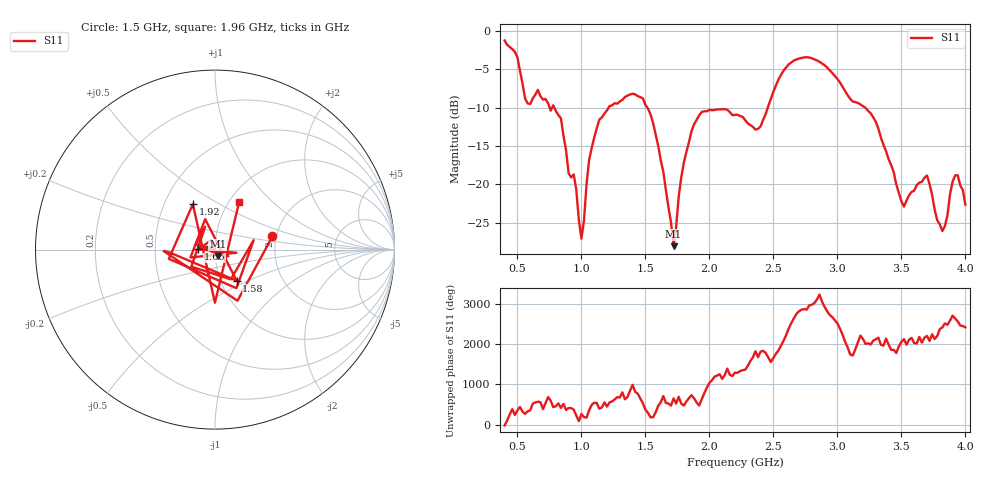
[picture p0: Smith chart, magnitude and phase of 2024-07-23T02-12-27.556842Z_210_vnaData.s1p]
!Created with skrf (http://scikit-rf.org).
# Hz S RI R 50.0
!freq ReS11 ImS11
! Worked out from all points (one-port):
!   181 points, 400 MHz to 4 GHz, reference 50 ohm
!   lowest |S11| = -28.0 dB at 1.72 GHz (marker M1), VSWR 1.08, Z = 51.4 - j3.75 ohm
!   |S11| at or under -10 dB: 788.1 MHz to 1.213 GHz (425 MHz wide, 42.5 % of centre); 1.514 GHz to 2.456 GHz (942 MHz wide, 47.4 % of centre); 3.216 GHz to end of sweep (the widest 3 of 4)
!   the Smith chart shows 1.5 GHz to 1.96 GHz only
!   S11 on the Smith chart (normalised r, x): 1.5 GHz: 1.91, +0.32; 1.58 GHz: 1.19, -0.43; 1.66 GHz: 0.83, +0.00; 1.92 GHz: 0.69, +0.38; 1.96 GHz: 1.11, +0.65
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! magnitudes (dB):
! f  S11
! 400 MHz  -1.3
! 500 MHz  -3.4
! 580 MHz  -9.5
! 660 MHz  -7.7
! 860 MHz  -13.7
! 940 MHz  -18.7
! 1 GHz  -27.1
! 1.06 GHz  -16.8
! 1.12 GHz  -12.7
! 1.3 GHz  -9.2
! 1.5 GHz  -9.7
! 1.58 GHz  -13.5
! 1.66 GHz  -20.7
! 1.72 GHz  -28.0
! 1.76 GHz  -21.6
! 1.92 GHz  -11.0
! 1.96 GHz  -10.5
! 2.2 GHz  -11.0
! 2.38 GHz  -12.8
! 2.66 GHz  -3.9
! 3.1 GHz  -8.9
! 3.3 GHz  -11.9
! 3.52 GHz  -22.9
! 3.56 GHz  -21.4
! 3.7 GHz  -18.8
! 3.82 GHz  -26.1
! 3.92 GHz  -18.8
! 4 GHz  -22.6
